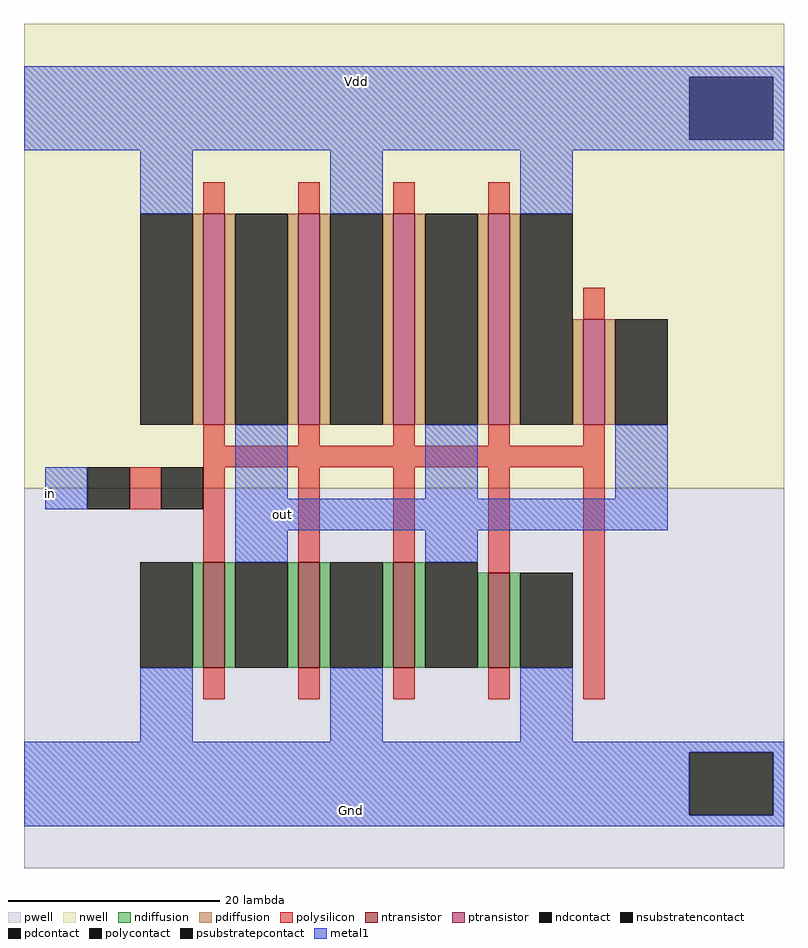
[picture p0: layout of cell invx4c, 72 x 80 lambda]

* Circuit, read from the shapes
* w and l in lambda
.subckt invx4c Gnd Vdd in out
M1 out in Gnd Gnd nfet w=10 l=2 m=3
M2 Gnd in out Gnd nfet w=9 l=2
M3 out in Vdd Vdd pfet w=20 l=2 m=4
M4 out in Vdd Vdd pfet w=10 l=2
.ends

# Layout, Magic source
magic
tech sample_6m
<< nwell >>
rect -11 32 61 76
<< pwell >>
rect -11 -4 61 32
<< ntransistor >>
rect 6 15 8 25
rect 15 15 17 25
rect 24 15 26 25
rect 33 15 35 24
<< ptransistor >>
rect 6 38 8 58
rect 15 38 17 58
rect 24 38 26 58
rect 33 38 35 58
rect 42 38 44 48
<< ndiffusion >>
rect 5 15 6 25
rect 8 15 9 25
rect 14 15 15 25
rect 17 15 18 25
rect 23 15 24 25
rect 26 15 27 25
rect 32 15 33 24
rect 35 15 36 24
<< pdiffusion >>
rect 5 38 6 58
rect 8 38 9 58
rect 14 38 15 58
rect 17 38 18 58
rect 23 38 24 58
rect 26 38 27 58
rect 32 38 33 58
rect 35 38 36 58
rect 41 38 42 48
rect 44 38 45 48
<< ndcontact >>
rect 0 15 5 25
rect 9 15 14 25
rect 18 15 23 25
rect 27 15 32 25
rect 36 15 41 24
<< pdcontact >>
rect 0 38 5 58
rect 9 38 14 58
rect 18 38 23 58
rect 27 38 32 58
rect 36 38 41 58
rect 45 38 50 48
<< psubstratepcontact >>
rect 52 1 60 7
<< nsubstratencontact >>
rect 52 65 60 71
<< polysilicon >>
rect 6 58 8 61
rect 15 58 17 61
rect 24 58 26 61
rect 33 58 35 61
rect 42 48 44 51
rect 6 36 8 38
rect 15 36 17 38
rect 24 36 26 38
rect 33 36 35 38
rect 42 36 44 38
rect 6 34 44 36
rect -1 30 2 34
rect 6 25 8 34
rect 15 25 17 34
rect 24 25 26 34
rect 33 24 35 34
rect 6 12 8 15
rect 15 12 17 15
rect 24 12 26 15
rect 33 12 35 15
rect 42 12 44 34
<< polycontact >>
rect -5 30 -1 34
rect 2 30 6 34
<< metal1 >>
rect -11 64 61 72
rect 0 58 5 64
rect 18 58 23 64
rect 36 58 41 64
rect -9 30 -5 34
rect 9 31 14 38
rect 27 31 32 38
rect 45 31 50 38
rect 9 28 50 31
rect 9 25 14 28
rect 27 25 32 28
rect 0 8 5 15
rect 18 8 23 15
rect 36 8 41 15
rect -11 7 61 8
rect -11 1 52 7
rect 60 1 61 7
rect -11 0 61 1
<< labels >>
rlabel metal1 19 69 22 72 5 Vdd 
rlabel metal1 19 0 21 3 1 Gnd
rlabel metal1 -9 31 -8 32 3 in
rlabel metal1 13 29 14 30 1 out
<< end >>
